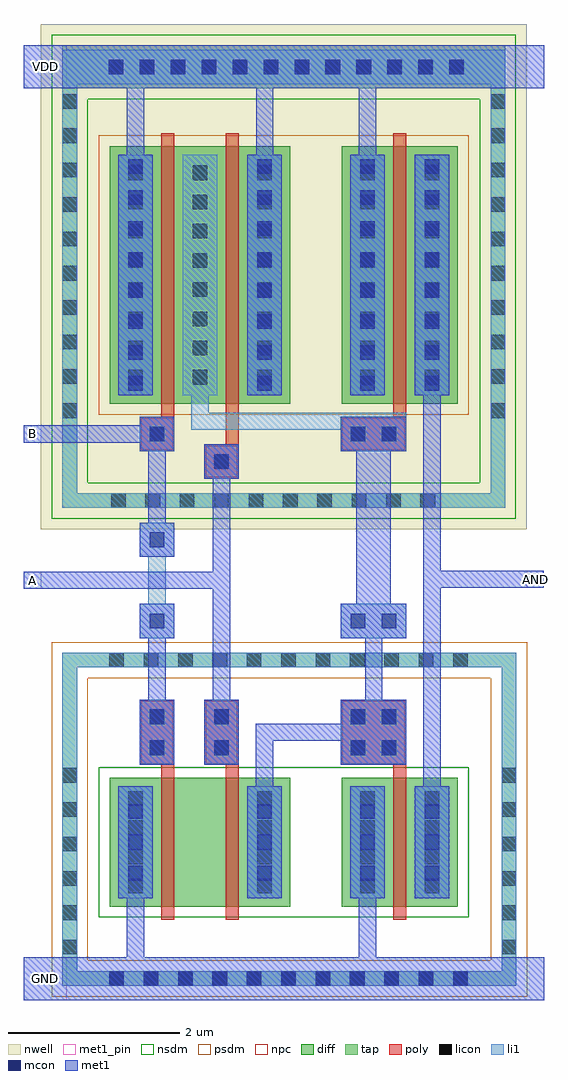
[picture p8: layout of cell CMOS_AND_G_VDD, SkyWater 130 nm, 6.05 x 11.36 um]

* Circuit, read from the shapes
.subckt CMOS_AND_G_VDD A AND B GND VDD
XM1 n1 B GND GND sky130_fd_pr__nfet_01v8 w=1.5 l=0.15
XM2 n2 A n1 GND sky130_fd_pr__nfet_01v8 w=1.5 l=0.15
XM3 AND n2 GND GND sky130_fd_pr__nfet_01v8 w=1.5 l=0.15
XM4 n2 B VDD VDD sky130_fd_pr__pfet_01v8 w=3 l=0.15
XM5 VDD A n2 VDD sky130_fd_pr__pfet_01v8 w=3 l=0.15
XM6 AND n2 VDD VDD sky130_fd_pr__pfet_01v8 w=3 l=0.15
.ends

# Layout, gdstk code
import gdstk
lib = gdstk.Library(unit=1e-6, precision=1e-09)
def R(c, l, rs):  # rectangles x0, y0, x1, y1
    for r in rs: c.add(gdstk.rectangle(r[:2], r[2:], *l))
def A(c, l, x, y, w, h, nx, ny, dx, dy):  # array of equal rectangles
    R(c, l, [(x+i*dx, y+j*dy, x+i*dx+w, y+j*dy+h) for i in range(nx) for j in range(ny)])
nwell = (64, 20)
diff = (65, 20)
tap = (65, 44)
poly = (66, 20)
licon = (66, 44)
li1 = (67, 20)
mcon = (67, 44)
met1_pin = (68, 16)
met1 = (68, 20)
nsdm = (93, 44)
psdm = (94, 20)
npc = (95, 20)

cmos_and_g_vdd = lib.new_cell('CMOS_AND_G_VDD')
R(cmos_and_g_vdd, nwell, [(0.2,4.915,5.85,10.795)])
R(cmos_and_g_vdd, diff, [(1,0.525,3.1,2.025), (3.7,0.525,5.05,2.025), (1,6.375,3.1,9.375), (3.7,6.375,5.05,9.375)])
R(cmos_and_g_vdd, tap, [(0.45,-0.395,5.73,-0.225), (0.45,-0.225,0.62,3.31), (5.56,-0.225,5.73,3.31), (0.45,3.31,5.73,3.48), (0.45,5.165,5.6,5.335), (0.45,5.335,0.62,10.045), (5.43,5.335,5.6,10.045), (0.45,10.045,5.6,10.545)])
R(cmos_and_g_vdd, poly, [(1.6,0.375,1.75,2.175), (2.35,0.375,2.5,2.175), (4.3,0.375,4.45,2.175), (1.35,2.175,1.75,2.935), (2.1,2.175,2.5,2.935), (3.69,2.175,4.45,2.935), (2.1,5.505,2.5,5.905), (1.35,5.825,1.75,6.225), (3.69,5.825,4.45,6.225), (2.35,5.905,2.5,9.525), (1.6,6.225,1.75,9.525), (4.3,6.225,4.45,9.525)])
A(cmos_and_g_vdd, licon, 0.995, -0.395, 0.17, 0.17, 11, 2, 0.4, 3.705)
A(cmos_and_g_vdd, licon, 0.45, -0.03, 0.17, 0.17, 1, 6, 0, 0.4)
A(cmos_and_g_vdd, licon, 5.56, -0.03, 0.17, 0.17, 1, 6, 0, 0.4)
A(cmos_and_g_vdd, licon, 1.215, 0.68, 0.17, 0.17, 1, 4, 0, 0.34)
A(cmos_and_g_vdd, licon, 2.715, 0.68, 0.17, 0.17, 1, 4, 0, 0.34)
A(cmos_and_g_vdd, licon, 3.915, 0.68, 0.17, 0.17, 1, 4, 0, 0.34)
A(cmos_and_g_vdd, licon, 4.665, 0.68, 0.17, 0.17, 1, 4, 0, 0.34)
A(cmos_and_g_vdd, licon, 1.015, 5.165, 0.17, 0.17, 10, 1, 0.4, 0)
A(cmos_and_g_vdd, licon, 0.45, 6.21, 0.17, 0.17, 1, 10, 0, 0.4)
A(cmos_and_g_vdd, licon, 5.43, 6.21, 0.17, 0.17, 1, 10, 0, 0.4)
A(cmos_and_g_vdd, licon, 1.215, 6.6, 0.17, 0.17, 3, 8, 0.75, 0.34)
A(cmos_and_g_vdd, licon, 3.915, 6.6, 0.17, 0.17, 1, 8, 0, 0.34)
A(cmos_and_g_vdd, licon, 4.665, 6.6, 0.17, 0.17, 1, 8, 0, 0.34)
A(cmos_and_g_vdd, licon, 0.99, 10.21, 0.17, 0.17, 12, 1, 0.36, 0)
R(cmos_and_g_vdd, licon, [(1.465,2.29,1.635,2.46), (2.215,2.29,2.385,2.46), (3.805,2.29,3.975,2.46), (4.165,2.29,4.335,2.46), (1.465,2.65,1.635,2.82), (2.215,2.65,2.385,2.82), (3.805,2.65,3.975,2.82), (4.165,2.65,4.335,2.82), (2.215,5.62,2.385,5.79), (1.465,5.94,1.635,6.11), (3.805,5.94,3.975,6.11), (4.165,5.94,4.335,6.11)])
A(cmos_and_g_vdd, li1, 1.1, 6.475, 0.4, 2.8, 3, 1, 0.75, 0)
R(cmos_and_g_vdd, li1, [(0.45,-0.395,5.73,-0.225), (0.45,-0.225,0.62,3.31), (5.56,-0.225,5.73,3.31), (1.1,0.625,1.5,1.925), (2.6,0.625,3,1.925), (3.8,0.625,4.2,1.925), (4.55,0.625,4.95,1.925), (1.35,2.175,1.75,2.935), (2.1,2.175,2.5,2.935), (3.69,2.175,4.45,2.935), (0.45,3.31,5.73,3.48), (1.35,3.65,1.75,4.05), (3.69,3.65,4.45,4.05), (1.45,4.05,1.65,4.595), (1.35,4.595,1.75,4.995), (0.45,5.165,5.6,5.335), (0.45,5.335,0.62,10.095), (5.43,5.335,5.6,10.095), (2.1,5.505,2.5,5.905), (1.35,5.825,1.75,6.225), (3.69,5.825,4.45,6.075), (1.95,6.075,4.45,6.275), (1.95,6.275,2.15,6.475), (3.8,6.475,4.2,9.275), (4.55,6.475,4.95,9.275), (0.45,10.095,5.6,10.495)])
A(cmos_and_g_vdd, mcon, 0.995, -0.395, 0.17, 0.17, 11, 1, 0.4, 0)
A(cmos_and_g_vdd, mcon, 1.215, 0.83, 0.17, 0.17, 1, 3, 0, 0.36)
A(cmos_and_g_vdd, mcon, 2.715, 0.83, 0.17, 0.17, 1, 3, 0, 0.36)
A(cmos_and_g_vdd, mcon, 3.915, 0.83, 0.17, 0.17, 1, 3, 0, 0.36)
A(cmos_and_g_vdd, mcon, 4.665, 0.83, 0.17, 0.17, 1, 3, 0, 0.36)
A(cmos_and_g_vdd, mcon, 1.215, 6.53, 0.17, 0.17, 1, 8, 0, 0.36)
A(cmos_and_g_vdd, mcon, 2.715, 6.53, 0.17, 0.17, 1, 8, 0, 0.36)
A(cmos_and_g_vdd, mcon, 3.915, 6.53, 0.17, 0.17, 1, 8, 0, 0.36)
A(cmos_and_g_vdd, mcon, 4.665, 6.53, 0.17, 0.17, 1, 8, 0, 0.36)
A(cmos_and_g_vdd, mcon, 0.99, 10.21, 0.17, 0.17, 12, 1, 0.36, 0)
R(cmos_and_g_vdd, mcon, [(1.465,2.29,1.635,2.46), (2.215,2.29,2.385,2.46), (3.805,2.29,3.975,2.46), (4.165,2.29,4.335,2.46), (1.465,2.65,1.635,2.82), (2.215,2.65,2.385,2.82), (3.805,2.65,3.975,2.82), (4.165,2.65,4.335,2.82), (1.465,3.765,1.635,3.935), (3.805,3.765,3.975,3.935), (4.165,3.765,4.335,3.935), (1.465,4.71,1.635,4.88), (2.215,5.62,2.385,5.79), (1.465,5.94,1.635,6.11), (3.805,5.94,3.975,6.11), (4.165,5.94,4.335,6.11)])
R(cmos_and_g_vdd, met1_pin, [(0,-0.56,0.5,-0.06), (0,4.225,0.205,4.425), (5.85,4.235,6.05,4.435), (0,5.925,0.205,6.125), (0,10.045,0.5,10.545)])
R(cmos_and_g_vdd, met1, [(0,-0.56,6.055,-0.06), (1.2,-0.06,1.4,0.625), (3.9,-0.06,4.1,0.625), (1.1,0.625,1.5,1.925), (2.6,0.625,3,1.925), (3.8,0.625,4.2,1.925), (4.55,0.625,4.95,1.925), (2.7,1.925,2.9,2.455), (4.65,1.925,4.85,4.235), (1.35,2.175,1.75,2.935), (2.1,2.175,2.5,2.935), (3.69,2.175,4.45,2.455), (2.7,2.455,4.45,2.655), (3.69,2.655,4.45,2.935), (1.45,2.935,1.65,3.65), (2.2,2.935,2.4,4.225), (3.97,2.935,4.17,3.65), (1.35,3.65,1.75,4.05), (3.69,3.65,4.45,4.05), (3.87,4.05,4.27,5.825), (0,4.225,2.4,4.425), (4.65,4.235,6.05,4.435), (2.2,4.425,2.4,5.505), (4.65,4.435,4.85,6.475), (1.35,4.595,1.75,4.995), (1.45,4.995,1.65,5.825), (2.1,5.505,2.5,5.905), (1.35,5.825,1.75,5.925), (3.69,5.825,4.45,6.225), (0,5.925,1.75,6.125), (1.35,6.125,1.75,6.225), (1.1,6.475,1.5,9.275), (2.6,6.475,3,9.275), (3.8,6.475,4.2,9.275), (4.55,6.475,4.95,9.275), (1.2,9.275,1.4,10.045), (2.705,9.275,2.905,10.045), (3.9,9.275,4.1,10.045), (0,10.045,6.055,10.545)])
R(cmos_and_g_vdd, nsdm, [(0.875,0.4,5.175,2.15), (0.325,5.04,5.725,5.46), (0.325,5.46,0.745,9.92), (5.305,5.46,5.725,9.92), (0.325,9.92,5.725,10.67)])
R(cmos_and_g_vdd, psdm, [(0.325,-0.52,5.855,-0.1), (0.325,-0.1,0.745,3.185), (5.435,-0.1,5.855,3.185), (0.325,3.185,5.855,3.605), (0.875,6.25,5.175,9.5)])
R(cmos_and_g_vdd, npc, [(1.365,2.19,1.735,2.92), (2.115,2.19,2.485,2.92), (3.705,2.19,4.435,2.92), (2.115,5.52,2.485,5.89), (1.365,5.84,1.735,6.21), (3.705,5.84,4.435,6.21)])
cmos_and_g_vdd.add(gdstk.Label('GND', (0.25,-0.31), layer=68, texttype=5))
cmos_and_g_vdd.add(gdstk.Label('A', (0.102,4.325), layer=68, texttype=5))
cmos_and_g_vdd.add(gdstk.Label('B', (0.102,6.025), layer=68, texttype=5))
cmos_and_g_vdd.add(gdstk.Label('AND', (5.95,4.335), layer=68, texttype=5))
cmos_and_g_vdd.add(gdstk.Label('VDD', (0.25,10.295), layer=68, texttype=5))

lib.write_gds('CMOS_AND_G_VDD.gds')
